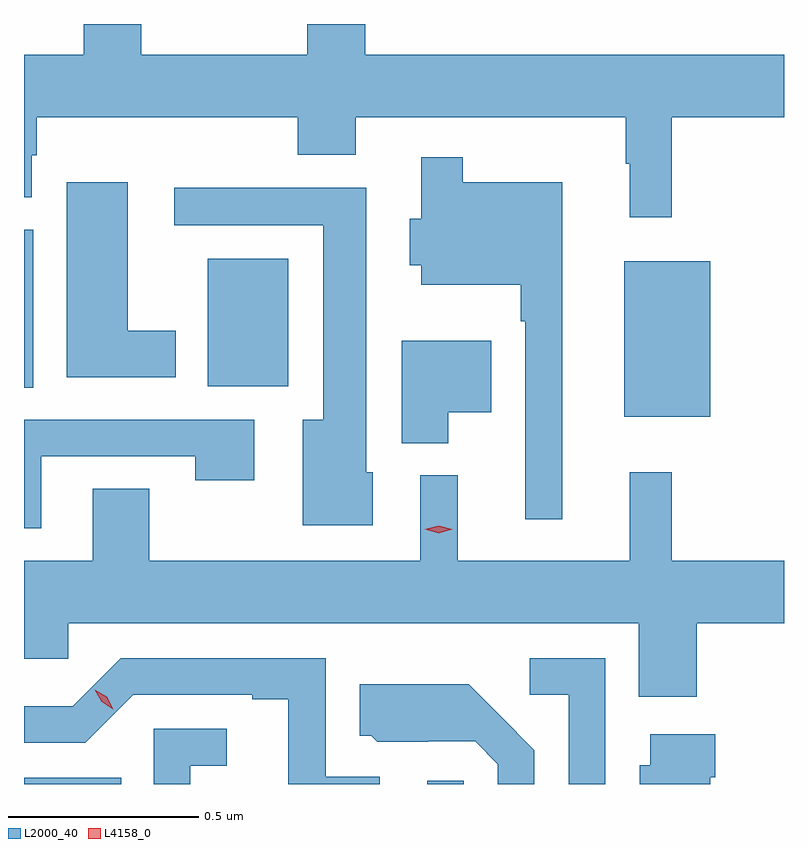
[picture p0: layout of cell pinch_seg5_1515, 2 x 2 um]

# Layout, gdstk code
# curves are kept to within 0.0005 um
import gdstk
lib = gdstk.Library(unit=1e-6, precision=1e-09)
def R(c, l, rs):  # rectangles x0, y0, x1, y1
    for r in rs: c.add(gdstk.rectangle(r[:2], r[2:], *l))
def P(c, l, *ps):  # polygons
    for p in ps: c.add(gdstk.Polygon(p, *l))
L2000_40 = (2000, 40)
L4158_0 = (4158, 0)

pinch_seg5_1515 = lib.new_cell('pinch_seg5_1515')
R(pinch_seg5_1515, L2000_40, [(112.858,885.641,113.114,885.658), (113.919,885.641,114.015,885.649), (114.437,886.607,114.664,887.017), (112.858,886.684,112.882,887.1), (113.342,886.688,113.554,887.023)])
P(pinch_seg5_1515, L2000_40, [(114.562,887.396),(114.858,887.396),(114.858,887.56),(113.756,887.56),(113.756,887.641),(113.603,887.641),(113.603,887.56),(113.167,887.56),(113.167,887.641),(113.015,887.641),(113.015,887.56),(112.858,887.56),(112.858,887.185),(112.879,887.185),(112.879,887.295),(112.892,887.295),(112.892,887.396),(113.579,887.396),(113.579,887.297),(113.731,887.297),(113.731,887.396),(114.441,887.396),(114.441,887.273),(114.452,887.273),(114.452,887.133),(114.562,887.133)],
  [(114.274,887.224),(114.013,887.224),(114.013,887.29),(113.903,887.29),(113.903,887.128),(113.873,887.128),(113.873,887.006),(113.903,887.006),(113.903,886.955),(114.165,886.955),(114.165,886.859),(114.177,886.859),(114.177,886.338),(114.274,886.338)],
  [(113.257,886.834),(113.131,886.834),(113.131,887.224),(112.97,887.224),(112.97,886.712),(113.257,886.712)],
  [(113.776,886.461),(113.758,886.461),(113.758,887.21),(113.253,887.21),(113.253,887.112),(113.645,887.112),(113.645,886.6),(113.591,886.6),(113.591,886.322),(113.776,886.322)],
  [(113.974,886.619),(114.088,886.619),(114.088,886.807),(113.852,886.807),(113.852,886.538),(113.974,886.538)],
  [(112.903,886.503),(113.308,886.503),(113.308,886.44),(113.464,886.44),(113.464,886.599),(112.858,886.599),(112.858,886.314),(112.903,886.314)],
  [(114.629,886.064),(114.858,886.064),(114.858,886.228),(114.562,886.228),(114.562,886.462),(114.452,886.462),(114.452,886.228),(113.999,886.228),(113.999,886.453),(113.901,886.453),(113.901,886.228),(113.187,886.228),(113.187,886.418),(113.039,886.418),(113.039,886.228),(112.858,886.228),(112.858,885.971),(112.974,885.971),(112.974,886.064),(114.476,886.064),(114.476,885.87),(114.629,885.87)],
  [(113.794,885.66),(113.652,885.66),(113.652,885.972),(113.112,885.972),(112.986,885.846),(112.858,885.846),(112.858,885.75),(113.019,885.75),(113.145,885.876),(113.459,885.876),(113.459,885.864),(113.553,885.864),(113.553,885.641),(113.794,885.641)],
  [(114.387,885.972),(114.189,885.972),(114.189,885.876),(114.291,885.876),(114.291,885.641),(114.387,885.641)],
  [(114.201,885.73),(114.029,885.904),(113.741,885.904),(113.741,885.768),(113.772,885.768),(113.788,885.752),(113.922,885.752),(113.922,885.753),(114.045,885.753),(114.105,885.693),(114.105,885.641),(114.201,885.641)],
  [(113.295,885.689),(113.392,885.689),(113.392,885.786),(113.199,885.786),(113.199,885.641),(113.295,885.641)],
  [(114.664,885.659),(114.677,885.659),(114.677,885.772),(114.506,885.772),(114.506,885.69),(114.479,885.69),(114.479,885.641),(114.664,885.641)])
P(pinch_seg5_1515, L4158_0, [(113.949,886.301),(113.913,886.311),(113.913,886.312),(113.913,886.312),(113.949,886.321),(113.985,886.311),(113.985,886.311),(113.985,886.311)],
  [(113.093,885.838),(113.062,885.857),(113.044,885.889),(113.044,885.889),(113.044,885.889),(113.076,885.87),(113.093,885.838),(113.093,885.838)])

lib.write_gds('pinch_seg5_1515.gds')
